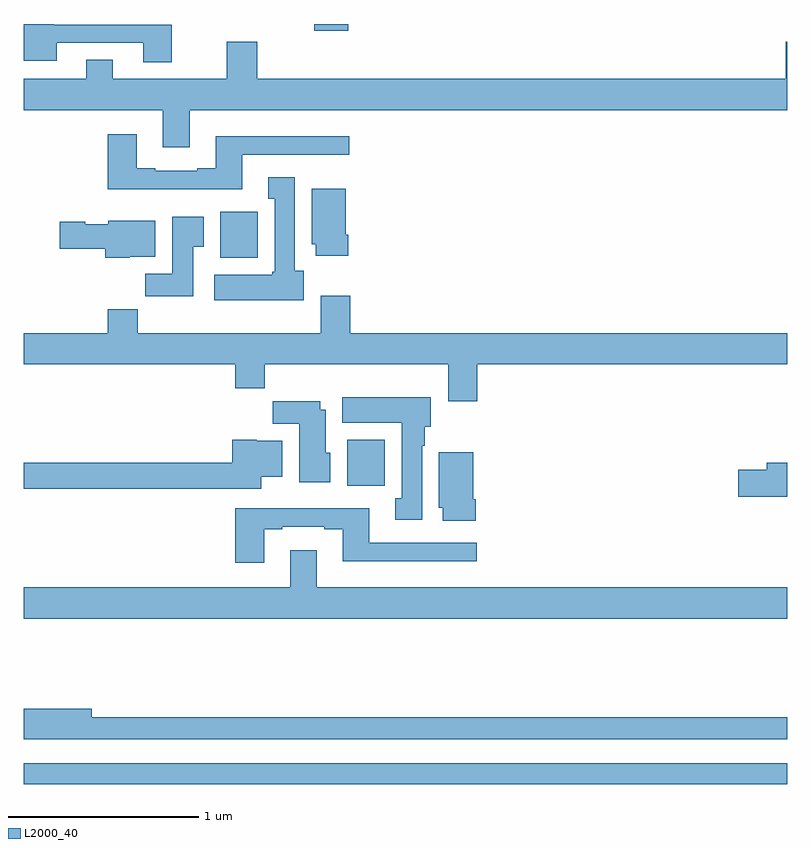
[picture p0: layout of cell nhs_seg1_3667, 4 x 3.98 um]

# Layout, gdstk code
import gdstk
lib = gdstk.Library(unit=1e-6, precision=1e-09)
def R(c, l, rs):  # rectangles x0, y0, x1, y1
    for r in rs: c.add(gdstk.rectangle(r[:2], r[2:], *l))
def P(c, l, *ps):  # polygons
    for p in ps: c.add(gdstk.Polygon(p, *l))
L2000_40 = (2000, 40)

nhs_seg1_3667 = lib.new_cell('nhs_seg1_3667')
R(nhs_seg1_3667, L2000_40, [(311,532.218,315,532.326), (312.695,533.78,312.892,534.022), (312.029,534.974,312.226,535.216), (312.523,536.163,312.701,536.199)])
P(nhs_seg1_3667, L2000_40, [(311.775,536.196),(311.158,536.196),(311.158,536.199),(311,536.199),(311,536.006),(311.173,536.006),(311.173,536.1),(311.627,536.1),(311.627,535.998),(311.775,535.998)],
  [(311.869,535.748),(315,535.748),(315,536.107),(314.993,536.107),(314.993,535.912),(312.224,535.912),(312.224,536.107),(312.064,536.107),(312.064,535.912),(311.467,535.912),(311.467,536.011),(311.327,536.011),(311.327,535.912),(311,535.912),(311,535.748),(311.729,535.748),(311.729,535.554),(311.869,535.554)],
  [(312.145,535.515),(312.706,535.515),(312.706,535.612),(312.005,535.612),(312.005,535.444),(311.909,535.444),(311.909,535.431),(311.689,535.431),(311.689,535.444),(311.593,535.444),(311.593,535.621),(311.441,535.621),(311.441,535.334),(312.145,535.334)],
  [(312.466,534.906),(312.421,534.906),(312.421,535.396),(312.281,535.396),(312.281,535.283),(312.314,535.283),(312.314,534.9),(312.301,534.9),(312.301,534.886),(311.997,534.886),(311.997,534.752),(312.466,534.752)],
  [(312.701,535.096),(312.688,535.096),(312.688,535.336),(312.509,535.336),(312.509,535.044),(312.53,535.044),(312.53,534.984),(312.701,534.984)],
  [(311.887,535.033),(311.944,535.033),(311.944,535.189),(311.777,535.189),(311.777,534.892),(311.638,534.892),(311.638,534.774),(311.887,534.774)],
  [(311.556,534.98),(311.689,534.98),(311.689,535.168),(311.442,535.168),(311.442,535.15),(311.322,535.15),(311.322,535.163),(311.19,535.163),(311.19,535.021),(311.426,535.021),(311.426,534.974),(311.556,534.974)],
  [(313.376,534.416),(315,534.416),(315,534.58),(312.71,534.58),(312.71,534.775),(312.557,534.775),(312.557,534.58),(311.597,534.58),(311.597,534.704),(311.441,534.704),(311.441,534.58),(311,534.58),(311,534.416),(312.107,534.416),(312.107,534.292),(312.263,534.292),(312.263,534.416),(313.223,534.416),(313.223,534.222),(313.376,534.222)],
  [(313.087,533.99),(313.102,533.99),(313.102,534.09),(313.132,534.09),(313.132,534.244),(312.668,534.244),(312.668,534.11),(312.98,534.11),(312.98,533.714),(312.947,533.714),(312.947,533.601),(313.087,533.601)],
  [(312.607,533.952),(312.583,533.952),(312.583,534.178),(312.553,534.178),(312.553,534.223),(312.304,534.223),(312.304,534.104),(312.443,534.104),(312.443,533.798),(312.607,533.798)],
  [(312.244,533.828),(312.355,533.828),(312.355,534.016),(312.222,534.016),(312.222,534.022),(312.092,534.022),(312.092,533.9),(311,533.9),(311,533.764),(312.244,533.764)],
  [(313.367,533.71),(313.354,533.71),(313.354,533.956),(313.175,533.956),(313.175,533.664),(313.196,533.664),(313.196,533.598),(313.367,533.598)],
  [(315,533.9),(314.891,533.9),(314.891,533.864),(314.742,533.864),(314.742,533.722),(315,533.722)],
  [(312.259,533.553),(312.355,533.553),(312.355,533.565),(312.575,533.565),(312.575,533.553),(312.671,533.553),(312.671,533.384),(313.372,533.384),(313.372,533.481),(312.811,533.481),(312.811,533.662),(312.107,533.662),(312.107,533.376),(312.259,533.376)],
  [(315,533.248),(312.535,533.248),(312.535,533.443),(312.395,533.443),(312.395,533.248),(311,533.248),(311,533.084),(315,533.084)],
  [(315,532.568),(311.356,532.568),(311.356,532.611),(311,532.611),(311,532.452),(315,532.452)])

lib.write_gds('nhs_seg1_3667.gds')
